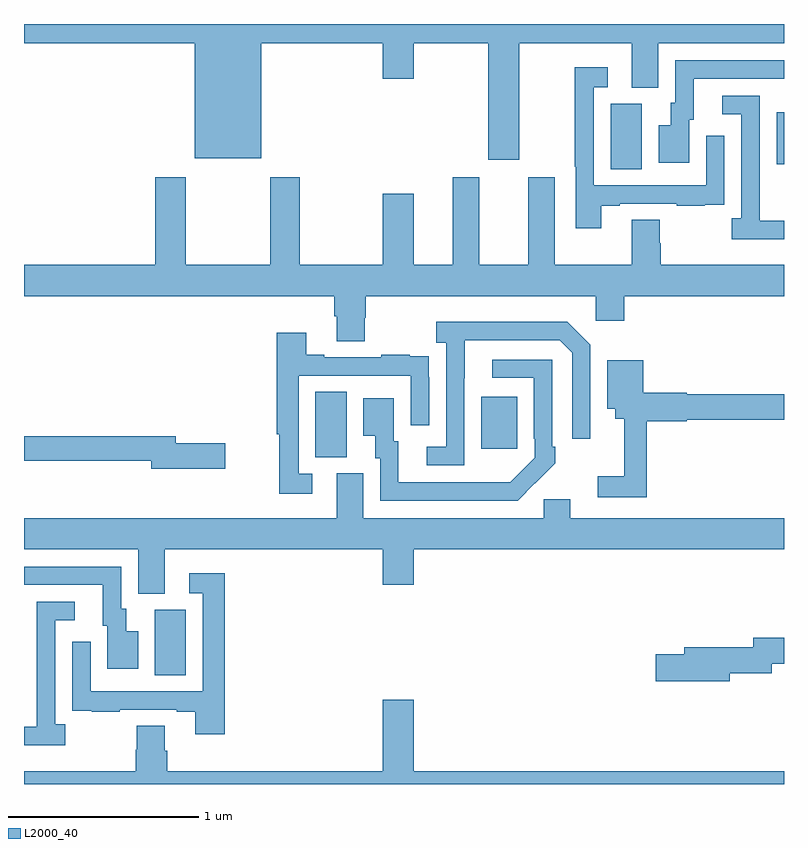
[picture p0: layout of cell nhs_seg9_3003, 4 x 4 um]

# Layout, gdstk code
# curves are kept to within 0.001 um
import gdstk
lib = gdstk.Library(unit=1e-6, precision=1e-09)
def R(c, l, rs):  # rectangles x0, y0, x1, y1
    for r in rs: c.add(gdstk.rectangle(r[:2], r[2:], *l))
def P(c, l, *ps):  # polygons
    for p in ps: c.add(gdstk.Polygon(p, *l))
L2000_40 = (2000, 40)

nhs_seg9_3003 = lib.new_cell('nhs_seg9_3003')
R(nhs_seg9_3003, L2000_40, [(283.688,1213.072,283.852,1213.416), (284.534,1214.221,284.698,1214.564), (285.407,1214.265,285.595,1214.539), (286.088,1215.736,286.252,1216.08), (286.961,1215.761,287,1216.036)])
P(nhs_seg9_3003, L2000_40, [(285.607,1216.4),(286.199,1216.4),(286.199,1216.165),(286.339,1216.165),(286.339,1216.4),(287,1216.4),(287,1216.5),(283,1216.5),(283,1216.4),(283.898,1216.4),(283.898,1215.794),(284.248,1215.794),(284.248,1216.4),(284.888,1216.4),(284.888,1216.212),(285.052,1216.212),(285.052,1216.4),(285.443,1216.4),(285.443,1215.786),(285.607,1215.786)],
  [(286.501,1215.996),(286.525,1215.996),(286.525,1216.212),(287,1216.212),(287,1216.308),(286.428,1216.308),(286.428,1216.086),(286.403,1216.086),(286.403,1215.967),(286.34,1215.967),(286.34,1215.771),(286.501,1215.771)],
  [(286.039,1215.543),(286.135,1215.543),(286.135,1215.555),(286.435,1215.555),(286.435,1215.543),(286.583,1215.543),(286.583,1215.549),(286.685,1215.549),(286.685,1215.658),(286.686,1215.658),(286.686,1215.913),(286.59,1215.913),(286.59,1215.651),(285.999,1215.651),(285.999,1216.167),(286.072,1216.167),(286.072,1216.273),(285.898,1216.273),(285.898,1215.748),(285.903,1215.748),(285.903,1215.426),(286.039,1215.426)],
  [(287,1215.465),(286.873,1215.465),(286.873,1215.665),(286.872,1215.665),(286.872,1216.122),(286.674,1216.122),(286.674,1216.026),(286.776,1216.026),(286.776,1215.478),(286.725,1215.478),(286.725,1215.368),(287,1215.368)],
  [(284.793,1214.955),(284.798,1214.955),(284.798,1215.068),(286.008,1215.068),(286.008,1214.937),(286.16,1214.937),(286.16,1215.068),(287,1215.068),(287,1215.232),(286.352,1215.232),(286.352,1215.345),(286.347,1215.345),(286.347,1215.47),(286.199,1215.47),(286.199,1215.232),(285.793,1215.232),(285.793,1215.694),(285.653,1215.694),(285.653,1215.232),(285.397,1215.232),(285.397,1215.694),(285.257,1215.694),(285.257,1215.232),(285.052,1215.232),(285.052,1215.607),(284.888,1215.607),(284.888,1215.232),(284.451,1215.232),(284.451,1215.694),(284.296,1215.694),(284.296,1215.232),(283.851,1215.232),(283.851,1215.694),(283.691,1215.694),(283.691,1215.232),(283,1215.232),(283,1215.068),(284.633,1215.068),(284.633,1214.962),(284.645,1214.962),(284.645,1214.83),(284.793,1214.83)],
  [(285.318,1214.635),(285.319,1214.835),(285.819,1214.835),(285.885,1214.769),(285.885,1214.316),(285.981,1214.316),(285.981,1214.811),(285.86,1214.932),(285.171,1214.932),(285.171,1214.822),(285.222,1214.822),(285.222,1214.274),(285.12,1214.274),(285.12,1214.178),(285.318,1214.178)],
  [(284.518,1214.133),(284.445,1214.133),(284.445,1214.649),(285.036,1214.649),(285.036,1214.388),(285.132,1214.388),(285.132,1214.642),(285.131,1214.642),(285.131,1214.751),(285.029,1214.751),(285.029,1214.758),(284.881,1214.758),(284.881,1214.745),(284.581,1214.745),(284.581,1214.758),(284.485,1214.758),(284.485,1214.875),(284.329,1214.875),(284.329,1214.34),(284.344,1214.34),(284.344,1214.028),(284.518,1214.028)],
  [(285.689,1214.083),(285.69,1214.082),(285.795,1214.187),(285.795,1214.275),(285.78,1214.275),(285.78,1214.733),(285.465,1214.733),(285.465,1214.637),(285.684,1214.637),(285.684,1214.317),(285.687,1214.317),(285.687,1214.217),(285.559,1214.089),(284.971,1214.088),(284.971,1214.304),(284.947,1214.304),(284.947,1214.53),(284.786,1214.53),(284.786,1214.333),(284.849,1214.333),(284.849,1214.214),(284.874,1214.214),(284.874,1213.992),(285.598,1213.992)],
  [(286.277,1214.408),(286.488,1214.408),(286.488,1214.416),(287,1214.416),(287,1214.552),(286.488,1214.552),(286.488,1214.56),(286.258,1214.56),(286.258,1214.731),(286.07,1214.731),(286.07,1214.474),(286.112,1214.474),(286.112,1214.423),(286.16,1214.423),(286.16,1214.119),(286.02,1214.119),(286.02,1214.01),(286.277,1214.01)],
  [(284.059,1214.294),(283.798,1214.294),(283.798,1214.33),(283,1214.33),(283,1214.202),(283.67,1214.202),(283.67,1214.159),(284.059,1214.159)],
  [(283.741,1213.736),(284.888,1213.736),(284.888,1213.548),(285.052,1213.548),(285.052,1213.736),(287,1213.736),(287,1213.9),(285.874,1213.9),(285.874,1213.998),(285.735,1213.998),(285.735,1213.9),(284.785,1213.9),(284.785,1214.136),(284.645,1214.136),(284.645,1213.9),(283,1213.9),(283,1213.736),(283.601,1213.736),(283.601,1213.501),(283.741,1213.501)],
  [(283.6,1213.303),(283.537,1213.303),(283.537,1213.422),(283.512,1213.422),(283.512,1213.644),(283,1213.644),(283,1213.548),(283.415,1213.548),(283.415,1213.332),(283.439,1213.332),(283.439,1213.107),(283.6,1213.107)],
  [(284.057,1213.609),(283.869,1213.609),(283.869,1213.503),(283.941,1213.503),(283.941,1212.987),(283.35,1212.987),(283.35,1213.249),(283.254,1213.249),(283.254,1212.994),(283.255,1212.994),(283.255,1212.885),(283.357,1212.885),(283.357,1212.879),(283.505,1212.879),(283.505,1212.891),(283.805,1212.891),(283.805,1212.879),(283.901,1212.879),(283.901,1212.762),(284.057,1212.762)],
  [(283.216,1212.814),(283.164,1212.814),(283.164,1213.362),(283.267,1213.362),(283.267,1213.458),(283.068,1213.458),(283.068,1213.001),(283.067,1213.001),(283.067,1212.801),(283,1212.801),(283,1212.704),(283.216,1212.704)],
  [(286.714,1213.084),(286.936,1213.084),(286.936,1213.133),(287,1213.133),(287,1213.27),(286.838,1213.27),(286.838,1213.22),(286.475,1213.22),(286.475,1213.184),(286.326,1213.184),(286.326,1213.042),(286.714,1213.042)],
  [(287,1212.568),(285.052,1212.568),(285.052,1212.943),(284.888,1212.943),(284.888,1212.568),(283.754,1212.568),(283.754,1212.674),(283.741,1212.674),(283.741,1212.806),(283.594,1212.806),(283.594,1212.681),(283.589,1212.681),(283.589,1212.568),(283,1212.568),(283,1212.5),(287,1212.5)])

lib.write_gds('nhs_seg9_3003.gds')
